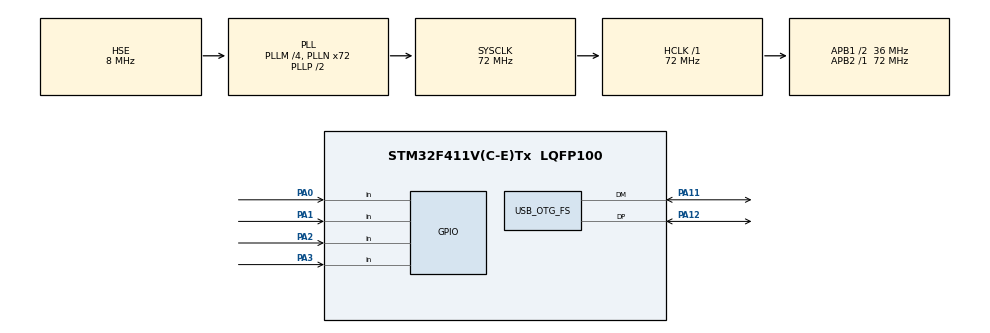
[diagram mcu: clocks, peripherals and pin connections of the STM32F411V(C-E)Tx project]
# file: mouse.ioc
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Mcu.Family=STM32F4
Mcu.Name=STM32F411V(C-E)Tx
Mcu.Package=LQFP100
NVIC.OTG_FS_IRQn=true\:0\:0\:false\:false\:true\:true\:true\:true
NVIC.PriorityGroup=NVIC_PRIORITYGROUP_0
PA0-WKUP.GPIO_PuPd=GPIO_PULLUP
PA0-WKUP.Signal=GPIO_Input
PA1.GPIO_PuPd=GPIO_PULLUP
PA1.Signal=GPIO_Input
PA11.Mode=Device_Only
PA11.Signal=USB_OTG_FS_DM
PA12.Mode=Device_Only
PA12.Signal=USB_OTG_FS_DP
PA2.GPIO_PuPd=GPIO_PULLUP
PA2.Signal=GPIO_Input
PA3.GPIO_PuPd=GPIO_PULLUP
PA3.Signal=GPIO_Input
PH0\ -\ OSC_IN.Mode=HSE-External-Oscillator
PH0\ -\ OSC_IN.Signal=RCC_OSC_IN
PH1\ -\ OSC_OUT.Mode=HSE-External-Oscillator
PH1\ -\ OSC_OUT.Signal=RCC_OSC_OUT
ProjectManager.HeapSize=0x200
ProjectManager.StackSize=0x400
ProjectManager.TargetToolchain=STM32CubeIDE
RCC.48MHZClocksFreq_Value=48000000
RCC.AHBFreq_Value=72000000
RCC.APB1CLKDivider=RCC_HCLK_DIV2
RCC.APB1Freq_Value=36000000
RCC.APB1TimFreq_Value=72000000
RCC.APB2Freq_Value=72000000
RCC.APB2TimFreq_Value=72000000
RCC.CortexFreq_Value=72000000
RCC.HCLKFreq_Value=72000000
RCC.HSE_VALUE=8000000
RCC.HSI_VALUE=16000000
RCC.PLLI2SM=5
RCC.PLLI2SN=200
RCC.PLLM=4
RCC.PLLN=72
RCC.PLLQ=3
RCC.SYSCLKFreq_VALUE=72000000
RCC.SYSCLKSource=RCC_SYSCLKSOURCE_PLLCLK
RCC.VCOOutputFreq_Value=144000000
USB_DEVICE.CLASS_NAME_FS=HID
USB_DEVICE.VirtualMode=Hid
USB_DEVICE.VirtualModeFS=Hid_FS
USB_OTG_FS.VirtualMode=Device_Only
VP_USB_DEVICE_VS_USB_DEVICE_HID_FS.Mode=HID_FS
board=STM32F411E-DISCO

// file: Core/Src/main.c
/* USER CODE BEGIN Header */
/**
  ******************************************************************************
  * @file           : main.c
  * @brief          : Main program body
  ******************************************************************************
  * @attention
  *
  * Copyright (c) 2022 STMicroelectronics.
  * All rights reserved.
  *
  * This software is licensed under terms that can be found in the LICENSE file
  * in the root directory of this software component.
  * If no LICENSE file comes with this software, it is provided AS-IS.
  *
  ******************************************************************************
  */
/* USER CODE END Header */
#include "main.h"
#include "usb_device.h"

/* USER CODE BEGIN Includes */
#include "usbd_hid.h"
/* USER CODE END Includes */

/* USER CODE BEGIN PTD */
#define REPORT_SIZE 5
/* USER CODE END PTD */

/* USER CODE BEGIN PV */
extern USBD_HandleTypeDef hUsbDeviceFS;
/* USER CODE END PV */

void SystemClock_Config(void);
static void MX_GPIO_Init(void);

/* USER CODE BEGIN 0 */
uint8_t x=0;
uint8_t y=0;
uint8_t click_report[REPORT_SIZE] = {0};
void getPointerData(void)
{
	if(HAL_GPIO_ReadPin(GPIOA,GPIO_PIN_0)==0)
	{
		++x;
		HAL_Delay(100);
	}
	if(HAL_GPIO_ReadPin(GPIOA,GPIO_PIN_1)==0)
	{
		--x;
		HAL_Delay(100);
	}
	if(HAL_GPIO_ReadPin(GPIOA,GPIO_PIN_2)==0)
	{
		++y;
		HAL_Delay(100);
	}
	if(HAL_GPIO_ReadPin(GPIOA,GPIO_PIN_3)==0)
	{
		--y;
		HAL_Delay(100);
	}
	click_report[0] = 0; //click
	click_report[1] = x;			//x
	click_report[2] = y;			//y
	click_report[3] = 0;			//wheel
	click_report[4] = 0;			//motion wakeup
}
/* USER CODE END 0 */

int main(void)
{

  /* MCU Configuration--------------------------------------------------------*/

  /* Reset of all peripherals, Initializes the Flash interface and the Systick. */
  HAL_Init();

  /* Configure the system clock */
  SystemClock_Config();

  /* Initialize all configured peripherals */
  MX_GPIO_Init();
  MX_USB_DEVICE_Init();

  /* Infinite loop */
  /* USER CODE BEGIN WHILE */
  while (1)
  {

HAL_Delay(100);
getPointerData();
USBD_HID_SendReport(&hUsbDeviceFS,click_report,5);
    /* USER CODE END WHILE */

  }
}

void SystemClock_Config(void)
{
  RCC_OscInitTypeDef RCC_OscInitStruct = {0};
  RCC_ClkInitTypeDef RCC_ClkInitStruct = {0};

  /** Configure the main internal regulator output voltage
  */
  __HAL_RCC_PWR_CLK_ENABLE();
  __HAL_PWR_VOLTAGESCALING_CONFIG(PWR_REGULATOR_VOLTAGE_SCALE1);

  /** Initializes the RCC Oscillators according to the specified parameters
  * in the RCC_OscInitTypeDef structure.
  */
  RCC_OscInitStruct.OscillatorType = RCC_OSCILLATORTYPE_HSE;
  RCC_OscInitStruct.HSEState = RCC_HSE_ON;
  RCC_OscInitStruct.PLL.PLLState = RCC_PLL_ON;
  RCC_OscInitStruct.PLL.PLLSource = RCC_PLLSOURCE_HSE;
  RCC_OscInitStruct.PLL.PLLM = 4;
  RCC_OscInitStruct.PLL.PLLN = 72;
  RCC_OscInitStruct.PLL.PLLP = RCC_PLLP_DIV2;
  RCC_OscInitStruct.PLL.PLLQ = 3;
  if (HAL_RCC_OscConfig(&RCC_OscInitStruct) != HAL_OK)
  {
    Error_Handler();
  }

  /** Initializes the CPU, AHB and APB buses clocks
  */
  RCC_ClkInitStruct.ClockType = RCC_CLOCKTYPE_HCLK|RCC_CLOCKTYPE_SYSCLK
                              |RCC_CLOCKTYPE_PCLK1|RCC_CLOCKTYPE_PCLK2;
  RCC_ClkInitStruct.SYSCLKSource = RCC_SYSCLKSOURCE_PLLCLK;
  RCC_ClkInitStruct.AHBCLKDivider = RCC_SYSCLK_DIV1;
  RCC_ClkInitStruct.APB1CLKDivider = RCC_HCLK_DIV2;
  RCC_ClkInitStruct.APB2CLKDivider = RCC_HCLK_DIV1;

  if (HAL_RCC_ClockConfig(&RCC_ClkInitStruct, FLASH_LATENCY_2) != HAL_OK)
  {
    Error_Handler();
  }
}

static void MX_GPIO_Init(void)
{
  GPIO_InitTypeDef GPIO_InitStruct = {0};

  /* GPIO Ports Clock Enable */
  __HAL_RCC_GPIOH_CLK_ENABLE();
  __HAL_RCC_GPIOA_CLK_ENABLE();

  /*Configure GPIO pins : PA0 PA1 PA2 PA3 */
  GPIO_InitStruct.Pin = GPIO_PIN_0|GPIO_PIN_1|GPIO_PIN_2|GPIO_PIN_3;
  GPIO_InitStruct.Mode = GPIO_MODE_INPUT;
  GPIO_InitStruct.Pull = GPIO_PULLUP;
  HAL_GPIO_Init(GPIOA, &GPIO_InitStruct);

}

void Error_Handler(void)
{
  __disable_irq();
  while (1)
  {
  }
}
